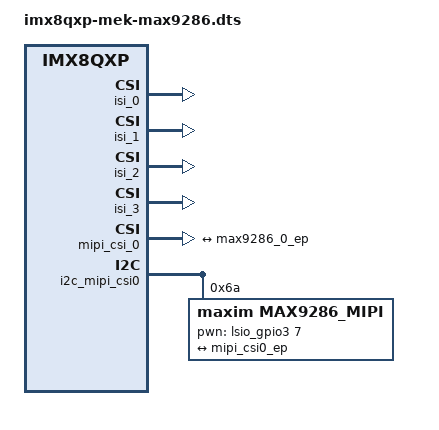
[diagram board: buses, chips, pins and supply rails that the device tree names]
// SPDX-License-Identifier: GPL-2.0+
// Copyright NXP 2019

#include "imx8qxp-mek.dts"

&isi_0 {
	status = "okay";
};

&isi_1 {
	status = "okay";
};

&isi_2 {
	status = "okay";
};

&isi_3 {
	status = "okay";
};

&mipi_csi_0 {
	#address-cells = <1>;
	#size-cells = <0>;
	virtual-channel;
	status = "okay";

	/* Camera 0  MIPI CSI-2 (CSIS0) */
	port@0 {
		reg = <0>;
		mipi_csi0_ep: endpoint {
			remote-endpoint = <&max9286_0_ep>;
			data-lanes = <1 2 3 4>;
		};
	};
};

&i2c_mipi_csi0 {
	max9286_mipi@6a {
		compatible = "maxim,max9286_mipi";
		reg = <0x6a>;
		pinctrl-names = "default";
		pinctrl-0 = <&pinctrl_mipi_csi0>;
		clocks = <&clk_dummy>;
		clock-names = "capture_mclk";
		mclk = <27000000>;
		mclk_source = <0>;
		pwn-gpios = <&lsio_gpio3 7 GPIO_ACTIVE_HIGH>;
		virtual-channel;
		status = "okay";
		port {
			max9286_0_ep: endpoint {
				remote-endpoint = <&mipi_csi0_ep>;
				data-lanes = <1 2 3 4>;
			};
		};
	};

	/delete-node/ov5640_mipi@3c;
};
